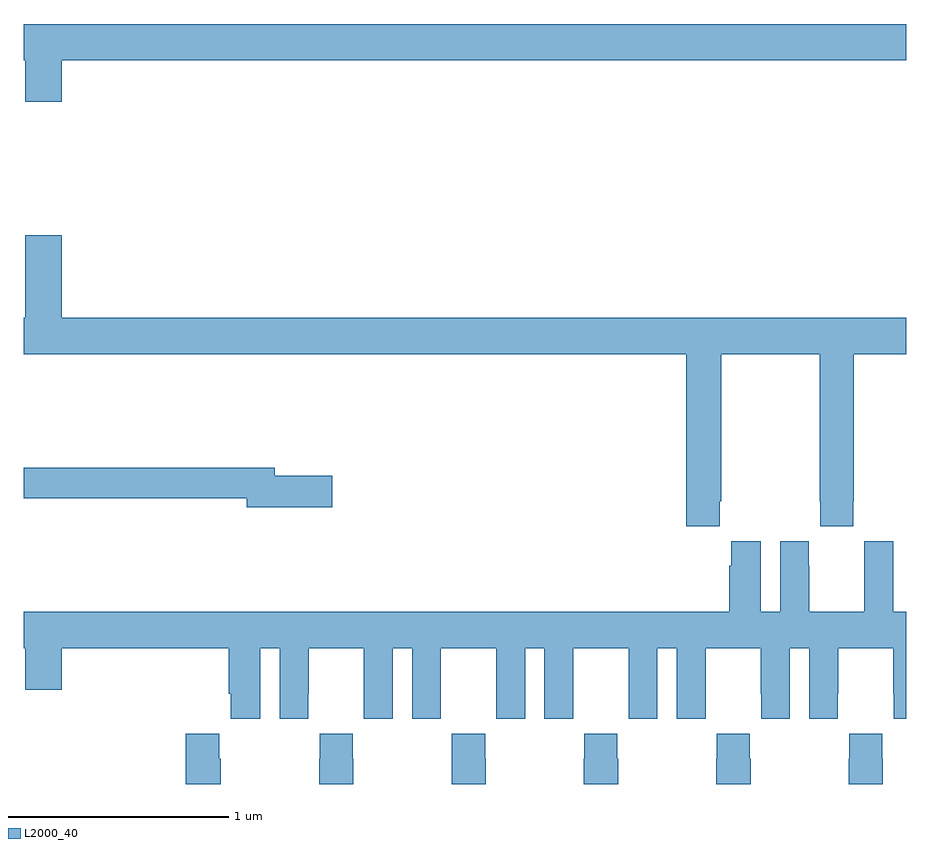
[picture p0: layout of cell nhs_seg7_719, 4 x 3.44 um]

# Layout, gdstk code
import gdstk
lib = gdstk.Library(unit=1e-6, precision=1e-09)
def P(c, l, *ps):  # polygons
    for p in ps: c.add(gdstk.Polygon(p, *l))
L2000_40 = (2000, 40)

nhs_seg7_719 = lib.new_cell('nhs_seg7_719')
P(nhs_seg7_719, L2000_40, [(165.172,1003.28),(169,1003.28),(169,1003.444),(165,1003.444),(165,1003.28),(165.008,1003.28),(165.008,1003.092),(165.172,1003.092)],
  [(168.155,1001.281),(168.162,1001.281),(168.162,1001.948),(168.607,1001.948),(168.607,1001.281),(168.609,1001.281),(168.609,1001.169),(168.759,1001.169),(168.759,1001.281),(168.762,1001.281),(168.762,1001.948),(169,1001.948),(169,1002.112),(165.172,1002.112),(165.172,1002.487),(165.008,1002.487),(165.008,1002.112),(165,1002.112),(165,1001.948),(168.002,1001.948),(168.002,1001.169),(168.155,1001.169)],
  [(166.399,1001.396),(166.138,1001.396),(166.138,1001.432),(165,1001.432),(165,1001.296),(166.01,1001.296),(166.01,1001.254),(166.399,1001.254)],
  [(166.072,1000.616),(166.16,1000.616),(166.16,1000.296),(166.29,1000.296),(166.29,1000.408),(166.291,1000.408),(166.291,1000.616),(166.541,1000.616),(166.541,1000.408),(166.542,1000.408),(166.542,1000.296),(166.672,1000.296),(166.672,1000.616),(166.76,1000.616),(166.76,1000.296),(166.89,1000.296),(166.89,1000.408),(166.891,1000.408),(166.891,1000.616),(167.141,1000.616),(167.141,1000.408),(167.142,1000.408),(167.142,1000.296),(167.272,1000.296),(167.272,1000.616),(167.36,1000.616),(167.36,1000.296),(167.49,1000.296),(167.49,1000.408),(167.491,1000.408),(167.491,1000.616),(167.741,1000.616),(167.741,1000.408),(167.742,1000.408),(167.742,1000.296),(167.872,1000.296),(167.872,1000.616),(167.96,1000.616),(167.96,1000.296),(168.09,1000.296),(168.09,1000.408),(168.091,1000.408),(168.091,1000.616),(168.341,1000.616),(168.341,1000.408),(168.342,1000.408),(168.342,1000.296),(168.472,1000.296),(168.472,1000.616),(168.56,1000.616),(168.56,1000.296),(168.69,1000.296),(168.69,1000.408),(168.691,1000.408),(168.691,1000.616),(168.941,1000.616),(168.941,1000.408),(168.942,1000.408),(168.942,1000.296),(169,1000.296),(169,1000.78),(168.94,1000.78),(168.94,1001.101),(168.81,1001.101),(168.81,1000.988),(168.809,1000.988),(168.809,1000.78),(168.559,1000.78),(168.559,1000.988),(168.558,1000.988),(168.558,1001.101),(168.428,1001.101),(168.428,1000.78),(168.34,1000.78),(168.34,1001.101),(168.206,1001.101),(168.206,1000.988),(168.197,1000.988),(168.197,1000.78),(165,1000.78),(165,1000.616),(165.008,1000.616),(165.008,1000.428),(165.172,1000.428),(165.172,1000.616),(165.929,1000.616),(165.929,1000.408),(165.938,1000.408),(165.938,1000.296),(166.072,1000.296)],
  [(166.494,1000.115),(166.491,1000.115),(166.491,1000.228),(166.341,1000.228),(166.341,1000.115),(166.339,1000.115),(166.339,1000),(166.494,1000)],
  [(165.894,1000.115),(165.887,1000.115),(165.887,1000.228),(165.734,1000.228),(165.734,1000),(165.894,1000)],
  [(167.094,1000.115),(167.091,1000.115),(167.091,1000.228),(166.941,1000.228),(166.941,1000.115),(166.939,1000.115),(166.939,1000),(167.094,1000)],
  [(167.694,1000.115),(167.691,1000.115),(167.691,1000.228),(167.541,1000.228),(167.541,1000.115),(167.539,1000.115),(167.539,1000),(167.694,1000)],
  [(168.294,1000.115),(168.291,1000.115),(168.291,1000.228),(168.141,1000.228),(168.141,1000.115),(168.139,1000.115),(168.139,1000),(168.294,1000)],
  [(168.894,1000.115),(168.891,1000.115),(168.891,1000.228),(168.741,1000.228),(168.741,1000.115),(168.739,1000.115),(168.739,1000),(168.894,1000)])

lib.write_gds('nhs_seg7_719.gds')
